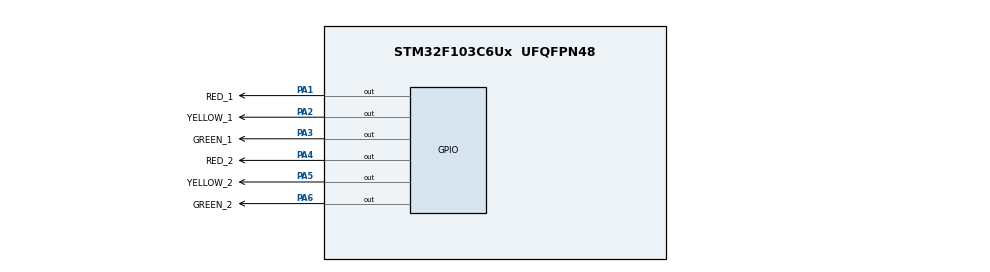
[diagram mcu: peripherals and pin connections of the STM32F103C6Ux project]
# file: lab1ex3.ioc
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Mcu.Family=STM32F1
Mcu.Name=STM32F103C6Ux
Mcu.Package=UFQFPN48
NVIC.PriorityGroup=NVIC_PRIORITYGROUP_4
PA1.GPIO_Label=RED_1
PA1.Signal=GPIO_Output
PA2.GPIO_Label=YELLOW_1
PA2.Signal=GPIO_Output
PA3.GPIO_Label=GREEN_1
PA3.Signal=GPIO_Output
PA4.GPIO_Label=RED_2
PA4.Signal=GPIO_Output
PA5.GPIO_Label=YELLOW_2
PA5.Signal=GPIO_Output
PA6.GPIO_Label=GREEN_2
PA6.Signal=GPIO_Output
ProjectManager.HeapSize=0x200
ProjectManager.StackSize=0x400
ProjectManager.TargetToolchain=STM32CubeIDE
RCC.APB1Freq_Value=8000000
RCC.APB2Freq_Value=8000000
VP_SYS_VS_ND.Mode=No_Debug
board=custom

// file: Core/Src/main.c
/* USER CODE BEGIN Header */
/**
  ******************************************************************************
  * @file           : main.c
  * @brief          : Main program body
  ******************************************************************************
  * @attention
  *
  * <h2><center>&copy; Copyright (c) 2026 STMicroelectronics.
  * All rights reserved.</center></h2>
  *
  * This software component is licensed by ST under BSD 3-Clause license,
  * the "License"; You may not use this file except in compliance with the
  * License. You may obtain a copy of the License at:
  *                        opensource.org/licenses/BSD-3-Clause
  *
  ******************************************************************************
  */
/* USER CODE END Header */
#include "main.h"

void SystemClock_Config(void);
static void MX_GPIO_Init(void);

int main(void)
{

  /* MCU Configuration--------------------------------------------------------*/

  /* Reset of all peripherals, Initializes the Flash interface and the Systick. */
  HAL_Init();

  /* Configure the system clock */
  SystemClock_Config();

  /* Initialize all configured peripherals */
  MX_GPIO_Init();
  /* USER CODE BEGIN 2 */
    int timer_counter = 0;
    int traffic_state = 0;
    /* USER CODE END 2 */

    /* Infinite loop */
    /* USER CODE BEGIN WHILE */
    while (1)
    {
        timer_counter++;

        switch (traffic_state) {
            case 0: /* trục dọc xanh, trục ngang đỏ */
                HAL_GPIO_WritePin(RED_1_GPIO_Port, RED_1_Pin, GPIO_PIN_SET);
                HAL_GPIO_WritePin(YELLOW_1_GPIO_Port, YELLOW_1_Pin, GPIO_PIN_RESET);
                HAL_GPIO_WritePin(GREEN_1_GPIO_Port, GREEN_1_Pin, GPIO_PIN_RESET);

                HAL_GPIO_WritePin(RED_2_GPIO_Port, RED_2_Pin, GPIO_PIN_RESET);
                HAL_GPIO_WritePin(YELLOW_2_GPIO_Port, YELLOW_2_Pin, GPIO_PIN_RESET);
                HAL_GPIO_WritePin(GREEN_2_GPIO_Port, GREEN_2_Pin, GPIO_PIN_SET);

                if (timer_counter >= 3) {
                    traffic_state = 1;
                    timer_counter = 0;
                }
                break;

            case 1: /* trục dọc vàng , trục ngang đỏ */
                HAL_GPIO_WritePin(GREEN_2_GPIO_Port, GREEN_2_Pin, GPIO_PIN_RESET);
                HAL_GPIO_WritePin(YELLOW_2_GPIO_Port, YELLOW_2_Pin, GPIO_PIN_SET);

                if (timer_counter >= 2) {
                    traffic_state = 2;
                    timer_counter = 0;
                }
                break;

            case 2: /* trục dọc đỏ , trục ngang xanh */
                HAL_GPIO_WritePin(RED_1_GPIO_Port, RED_1_Pin, GPIO_PIN_RESET);
                HAL_GPIO_WritePin(GREEN_1_GPIO_Port, GREEN_1_Pin, GPIO_PIN_SET);

                HAL_GPIO_WritePin(YELLOW_2_GPIO_Port, YELLOW_2_Pin, GPIO_PIN_RESET);
                HAL_GPIO_WritePin(RED_2_GPIO_Port, RED_2_Pin, GPIO_PIN_SET);

                if (timer_counter >= 3) {
                    traffic_state = 3;
                    timer_counter = 0;
                }
                break;

            case 3: /* trục dọc đỏ, trục ngang vàng */
                HAL_GPIO_WritePin(GREEN_1_GPIO_Port, GREEN_1_Pin, GPIO_PIN_RESET);
                HAL_GPIO_WritePin(YELLOW_1_GPIO_Port, YELLOW_1_Pin, GPIO_PIN_SET);

                if (timer_counter >= 2) {
                    traffic_state = 0;
                    timer_counter = 0;
                }
                break;
        }

        HAL_Delay(1000);

      /* USER CODE END WHILE */
}
}
void SystemClock_Config(void)
{
  RCC_OscInitTypeDef RCC_OscInitStruct = {0};
  RCC_ClkInitTypeDef RCC_ClkInitStruct = {0};

  /** Initializes the RCC Oscillators according to the specified parameters
  * in the RCC_OscInitTypeDef structure.
  */
  RCC_OscInitStruct.OscillatorType = RCC_OSCILLATORTYPE_HSI;
  RCC_OscInitStruct.HSIState = RCC_HSI_ON;
  RCC_OscInitStruct.HSICalibrationValue = RCC_HSICALIBRATION_DEFAULT;
  RCC_OscInitStruct.PLL.PLLState = RCC_PLL_NONE;
  if (HAL_RCC_OscConfig(&RCC_OscInitStruct) != HAL_OK)
  {
    Error_Handler();
  }
  /** Initializes the CPU, AHB and APB buses clocks
  */
  RCC_ClkInitStruct.ClockType = RCC_CLOCKTYPE_HCLK|RCC_CLOCKTYPE_SYSCLK
                              |RCC_CLOCKTYPE_PCLK1|RCC_CLOCKTYPE_PCLK2;
  RCC_ClkInitStruct.SYSCLKSource = RCC_SYSCLKSOURCE_HSI;
  RCC_ClkInitStruct.AHBCLKDivider = RCC_SYSCLK_DIV1;
  RCC_ClkInitStruct.APB1CLKDivider = RCC_HCLK_DIV1;
  RCC_ClkInitStruct.APB2CLKDivider = RCC_HCLK_DIV1;

  if (HAL_RCC_ClockConfig(&RCC_ClkInitStruct, FLASH_LATENCY_0) != HAL_OK)
  {
    Error_Handler();
  }
}

static void MX_GPIO_Init(void)
{
  GPIO_InitTypeDef GPIO_InitStruct = {0};

  /* GPIO Ports Clock Enable */
  __HAL_RCC_GPIOA_CLK_ENABLE();

  /*Configure GPIO pin Output Level */
  HAL_GPIO_WritePin(GPIOA, RED_1_Pin|YELLOW_1_Pin|GREEN_1_Pin|RED_2_Pin
                          |YELLOW_2_Pin|GREEN_2_Pin, GPIO_PIN_RESET);

  /*Configure GPIO pins : RED_1_Pin YELLOW_1_Pin GREEN_1_Pin RED_2_Pin
                           YELLOW_2_Pin GREEN_2_Pin */
  GPIO_InitStruct.Pin = RED_1_Pin|YELLOW_1_Pin|GREEN_1_Pin|RED_2_Pin
                          |YELLOW_2_Pin|GREEN_2_Pin;
  GPIO_InitStruct.Mode = GPIO_MODE_OUTPUT_PP;
  GPIO_InitStruct.Pull = GPIO_NOPULL;
  GPIO_InitStruct.Speed = GPIO_SPEED_FREQ_LOW;
  HAL_GPIO_Init(GPIOA, &GPIO_InitStruct);

}

void Error_Handler(void)
{
  __disable_irq();
  while (1)
  {
  }
}

/************************ (C) COPYRIGHT STMicroelectronics *****END OF FILE****/
